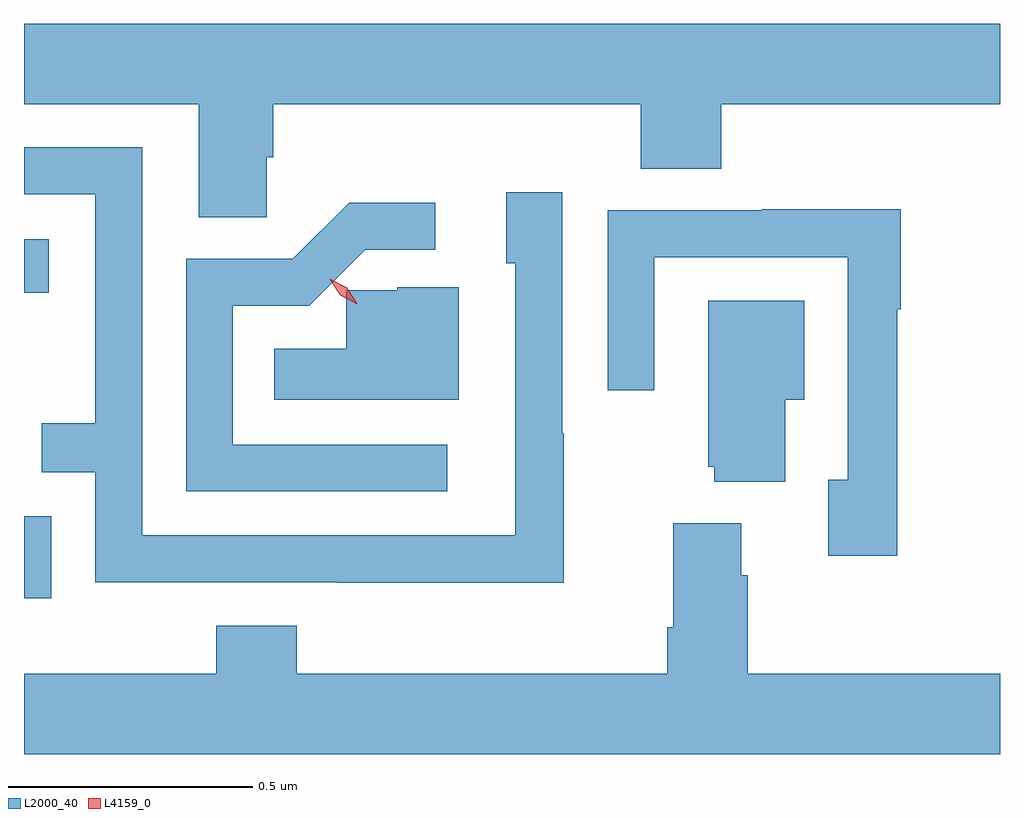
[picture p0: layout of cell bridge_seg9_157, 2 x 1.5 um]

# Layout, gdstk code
import gdstk
lib = gdstk.Library(unit=1e-6, precision=1e-09)
def R(c, l, rs):  # rectangles x0, y0, x1, y1
    for r in rs: c.add(gdstk.rectangle(r[:2], r[2:], *l))
def P(c, l, *ps):  # polygons
    for p in ps: c.add(gdstk.Polygon(p, *l))
L2000_40 = (2000, 40)
L4159_0 = (4159, 0)

bridge_seg9_157 = lib.new_cell('bridge_seg9_157')
R(bridge_seg9_157, L2000_40, [(588.613,1191.411,588.669,1191.579), (588.613,1192.037,588.664,1192.147)])
P(bridge_seg9_157, L2000_40, [(589.11,1192.315),(589.124,1192.315),(589.124,1192.424),(589.877,1192.424),(589.877,1192.291),(590.042,1192.291),(590.042,1192.424),(590.613,1192.424),(590.613,1192.588),(588.613,1192.588),(588.613,1192.424),(588.971,1192.424),(588.971,1192.192),(589.11,1192.192)],
  [(589.719,1191.749),(589.716,1191.749),(589.716,1192.243),(589.601,1192.243),(589.601,1192.098),(589.62,1192.098),(589.62,1191.54),(588.855,1191.54),(588.855,1192.335),(588.613,1192.335),(588.613,1192.239),(588.759,1192.239),(588.759,1191.77),(588.649,1191.77),(588.649,1191.669),(588.759,1191.669),(588.759,1191.444),(589.255,1191.444),(589.255,1191.443),(589.719,1191.443)],
  [(589.48,1191.726),(589.041,1191.726),(589.041,1192.011),(589.198,1192.011),(589.312,1192.125),(589.456,1192.125),(589.456,1192.222),(589.279,1192.222),(589.164,1192.107),(588.945,1192.107),(588.945,1191.63),(589.48,1191.63)],
  [(590.402,1192.003),(590.41,1192.003),(590.41,1192.208),(590.125,1192.208),(590.125,1192.206),(589.809,1192.206),(589.809,1191.837),(589.905,1191.837),(589.905,1192.11),(590.301,1192.11),(590.301,1191.654),(590.261,1191.654),(590.261,1191.498),(590.402,1191.498)],
  [(589.504,1192.049),(589.378,1192.049),(589.378,1192.042),(589.273,1192.042),(589.273,1191.922),(589.126,1191.922),(589.126,1191.818),(589.504,1191.818)],
  [(590.173,1191.818),(590.212,1191.818),(590.212,1192.021),(590.015,1192.021),(590.015,1191.681),(590.027,1191.681),(590.027,1191.65),(590.173,1191.65)],
  [(590.613,1191.256),(590.096,1191.256),(590.096,1191.458),(590.083,1191.458),(590.083,1191.565),(589.943,1191.565),(589.943,1191.352),(589.931,1191.352),(589.931,1191.256),(589.172,1191.256),(589.172,1191.355),(589.007,1191.355),(589.007,1191.256),(588.613,1191.256),(588.613,1191.092),(590.613,1191.092)])
P(bridge_seg9_157, L4159_0, [(589.296,1192.014),(589.261,1192.032),(589.24,1192.065),(589.24,1192.066),(589.24,1192.066),(589.275,1192.047),(589.296,1192.015),(589.296,1192.014)])

lib.write_gds('bridge_seg9_157.gds')
